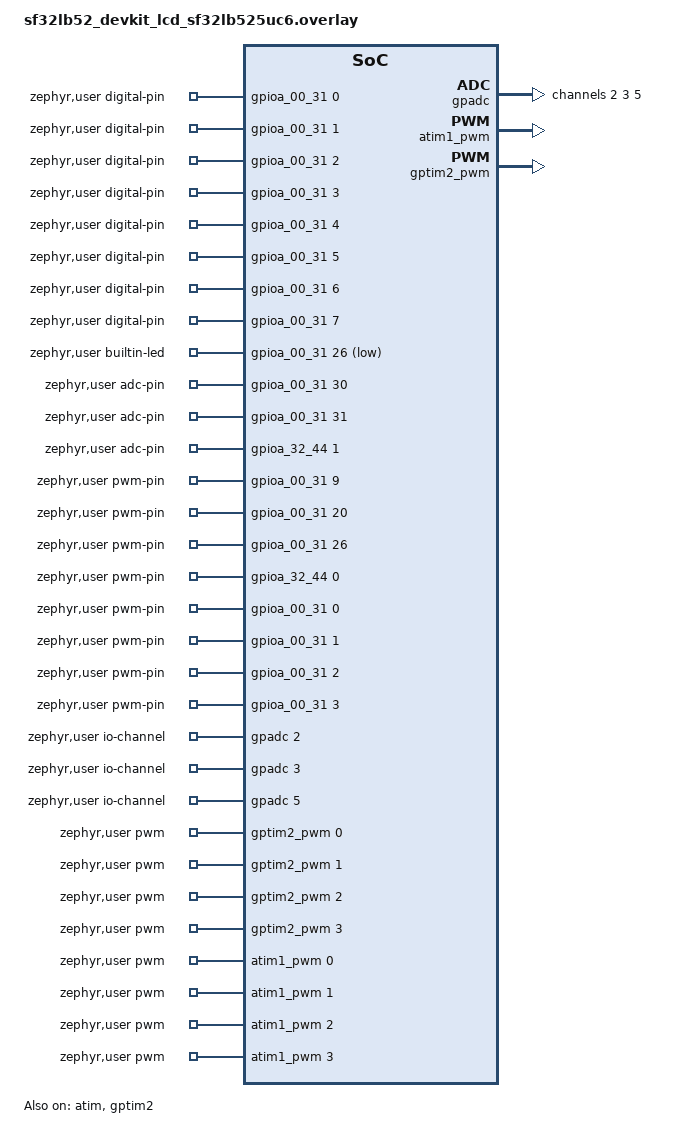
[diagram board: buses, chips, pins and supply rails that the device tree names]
/*
 * Copyright (c) Arduino s.r.l. and/or its affiliated companies
 *
 * SPDX-License-Identifier: Apache-2.0
 */

#include <zephyr/dt-bindings/pinctrl/sf32lb52x-pinctrl.h>
#include <zephyr/dt-bindings/pwm/pwm.h>
#include <zephyr/dt-bindings/adc/adc.h>

/*
 * Flash layout (py25q128ha, 16MB total):
 *   0x000000 - 0x00FFFF : ptable  (64KB,  from board DTS, unchanged)
 *   0x010000 - 0x10FFFF : code    (1MB,   loader binary — shrunk from original 16320KB)
 *   0x110000 - 0xFFFFFF : user_sketch (~14.9MB, where Arduino sketches are stored)
 *
 * The original board DTS sets code=16320KB which fills all remaining flash.
 * We shrink it to 1MB and allocate the rest to user_sketch.
 */

/* Shrink the loader code partition to 1MB */
&code {
	reg = <0x10000 DT_SIZE_K(1024)>;
};

/* Add the user_sketch partition in the remaining flash space */
&py25q128ha {
	/*
	 * Mark the flash node as soc-nv-flash so DT_MTD_FROM_FIXED_PARTITION()
	 * resolves partitions to the parent controller device (&mpi2) instead of
	 * to the flash child node itself.
	 */
	compatible = "puya,py25q128ha", "jedec,qspi-nor", "soc-nv-flash";
	reg = <0x12000000 DT_SIZE_M(16)>;

	partitions {
		user_sketch: partition@110000 {
			label = "user_sketch";
			/* 0x1000000 - 0x110000 = 0xEF0000 (~14.9MB) */
			reg = <0x110000 0xEF0000>;
		};
	};
};

/ {
	zephyr,user {
		/*
		 * Arduino digital pin index -> SoC pin:
		 *   D0       -> PA00  (PWM4 / LCDC)
		 *   D1       -> PA01  (PWM5 / LCDC)
		 *   D2       -> PA02  (PWM6 / LCDC)
		 *   D3       -> PA03  (PWM7 / LCDC)
		 *   D4       -> PA04  (I2C2_SDA / LCDC)
		 *   D5       -> PA05  (I2C2_SCL / LCDC)
		 *   D6       -> PA06  (I2C3_SDA / LCDC)
		 *   D7       -> PA07  (I2C3_SCL / LCDC)
		 *   D8       -> PA08  (LCDC)
		 *   D9       -> PA09  (PWM0)
		 *   D10      -> PA20  (PWM1)
		 *   D11      -> PA22  (LXT32 XI — not recommended)
		 *   D12      -> PA23  (LXT32 XO — not recommended)
		 *   D13 LED  -> PA26  (PWM2 / builtin LED)
		 *   D14 MOSI -> PA24  (SPI1 DIO)
		 *   D15 MISO -> PA25  (SPI1 DI)
		 *   D16      -> PA27  (I2C1_SDA)
		 *   D17 SCK  -> PA28  (SPI1 CLK)
		 *   D18 CS   -> PA29  (SPI1 CS)
		 *   D19      -> PA38  (I2C1_SCL / SPI2_MISO)
		 *   D20      -> PA34  (KEY1 — not on header)
		 *   D21      -> PA11  (KEY2 — not on header)
		 *   D22      -> PA32  (PWM3 / RGB LED — not on header)
		 *   D23      -> PA37  (LCDC / SPI2_MOSI)
		 *   D24      -> PA39  (LCDC / SPI2_CLK)
		 *   D25      -> PA40  (LCDC / SPI2_CS)
		 *   D26      -> PA41  (LCDC)
		 *   D27      -> PA42  (LCDC)
		 *   D28      -> PA43  (LCDC)
		 */
		digital-pin-gpios =
			<&gpioa_00_31 0 GPIO_ACTIVE_HIGH>,   /* D0  PA00 */
			<&gpioa_00_31 1 GPIO_ACTIVE_HIGH>,   /* D1  PA01 */
			<&gpioa_00_31 2 GPIO_ACTIVE_HIGH>,   /* D2  PA02 */
			<&gpioa_00_31 3 GPIO_ACTIVE_HIGH>,   /* D3  PA03 */
			<&gpioa_00_31 4 GPIO_ACTIVE_HIGH>,   /* D4  PA04 */
			<&gpioa_00_31 5 GPIO_ACTIVE_HIGH>,   /* D5  PA05 */
			<&gpioa_00_31 6 GPIO_ACTIVE_HIGH>,   /* D6  PA06 */
			<&gpioa_00_31 7 GPIO_ACTIVE_HIGH>,   /* D7  PA07 */
			<&gpioa_00_31 8 GPIO_ACTIVE_HIGH>,   /* D8  PA08 */
			<&gpioa_00_31 9 GPIO_ACTIVE_HIGH>,   /* D9  PA09 */
			<&gpioa_00_31 20 GPIO_ACTIVE_HIGH>,  /* D10 PA20 */
			<&gpioa_00_31 22 GPIO_ACTIVE_HIGH>,  /* D11 PA22 */
			<&gpioa_00_31 23 GPIO_ACTIVE_HIGH>,  /* D12 PA23 */
			<&gpioa_00_31 26 GPIO_ACTIVE_LOW>,   /* D13 PA26, builtin LED */
			<&gpioa_00_31 24 GPIO_ACTIVE_HIGH>,  /* D14 PA24, SPI MOSI */
			<&gpioa_00_31 25 GPIO_ACTIVE_HIGH>,  /* D15 PA25, SPI MISO */
			<&gpioa_00_31 27 GPIO_ACTIVE_HIGH>,  /* D16 PA27, I2C1_SDA */
			<&gpioa_00_31 28 GPIO_ACTIVE_HIGH>,  /* D17 PA28, SPI CLK */
			<&gpioa_00_31 29 GPIO_ACTIVE_HIGH>,  /* D18 PA29, SPI CS */
			<&gpioa_32_44 6 GPIO_ACTIVE_HIGH>,   /* D19 PA38, I2C1_SCL */
			<&gpioa_32_44 2 GPIO_ACTIVE_HIGH>,   /* D20 PA34, KEY1 */
			<&gpioa_00_31 11 GPIO_ACTIVE_HIGH>,  /* D21 PA11, KEY2 */
			<&gpioa_32_44 0 GPIO_ACTIVE_HIGH>,   /* D22 PA32, RGB LED */
			<&gpioa_32_44 5 GPIO_ACTIVE_HIGH>,   /* D23 PA37 */
			<&gpioa_32_44 7 GPIO_ACTIVE_HIGH>,   /* D24 PA39 */
			<&gpioa_32_44 8 GPIO_ACTIVE_HIGH>,   /* D25 PA40 */
			<&gpioa_32_44 9 GPIO_ACTIVE_HIGH>,   /* D26 PA41 */
			<&gpioa_32_44 10 GPIO_ACTIVE_HIGH>,  /* D27 PA42 */
			<&gpioa_32_44 11 GPIO_ACTIVE_HIGH>;  /* D28 PA43 */

		builtin-led-gpios = <&gpioa_00_31 26 GPIO_ACTIVE_LOW>;
		serials = <&usart1>;
		i2cs = <&i2c1>;
		spis = <&spi1>;

		/*
		 * ADC channels (Arduino A0..A2 -> GPADC CH2/CH3/CH5).
		 * adc-pin-gpios must reference the same GPIO phandle/pin as in
		 * digital-pin-gpios so the analog pin number is resolved.
		 */
		io-channels =
			<&gpadc 2>, <&gpadc 3>, <&gpadc 5>;
		adc-pin-gpios =
			<&gpioa_00_31 30 GPIO_ACTIVE_HIGH>, /* PA30 -> CH2 -> A0 */
			<&gpioa_00_31 31 GPIO_ACTIVE_HIGH>, /* PA31 -> CH3 -> A1 */
			<&gpioa_32_44 1 GPIO_ACTIVE_HIGH>;  /* PA33 -> CH5 -> A2 */

		/*
		 * PWM mapping (hardcoded pinctrl at build time).
		 *   PWM0 D9  PA09 -> GPTIM2 CH1
		 *   PWM1 D10 PA20 -> GPTIM2 CH2
		 *   PWM2 D13 PA26 -> GPTIM2 CH3
		 *   PWM3 D22 PA32 -> GPTIM2 CH4
		 *   PWM4 D0  PA00 -> ATIM1 CH1
		 *   PWM5 D1  PA01 -> ATIM1 CH2
		 *   PWM6 D2  PA02 -> ATIM1 CH3
		 *   PWM7 D3  PA03 -> ATIM1 CH4
		 */
		pwms =
			<&gptim2_pwm 0 PWM_USEC(255) PWM_POLARITY_NORMAL>, /* PWM0 */
			<&gptim2_pwm 1 PWM_USEC(255) PWM_POLARITY_NORMAL>, /* PWM1 */
			<&gptim2_pwm 2 PWM_USEC(255) PWM_POLARITY_NORMAL>, /* PWM2 */
			<&gptim2_pwm 3 PWM_USEC(255) PWM_POLARITY_NORMAL>, /* PWM3 */
			<&atim1_pwm 0 PWM_USEC(255) PWM_POLARITY_NORMAL>,  /* PWM4 */
			<&atim1_pwm 1 PWM_USEC(255) PWM_POLARITY_NORMAL>,  /* PWM5 */
			<&atim1_pwm 2 PWM_USEC(255) PWM_POLARITY_NORMAL>,  /* PWM6 */
			<&atim1_pwm 3 PWM_USEC(255) PWM_POLARITY_NORMAL>;  /* PWM7 */
		pwm-pin-gpios =
			<&gpioa_00_31 9 GPIO_ACTIVE_HIGH>,   /* PWM0 - D9  PA09 */
			<&gpioa_00_31 20 GPIO_ACTIVE_HIGH>,  /* PWM1 - D10 PA20 */
			<&gpioa_00_31 26 GPIO_ACTIVE_HIGH>,  /* PWM2 - D13 PA26 */
			<&gpioa_32_44 0 GPIO_ACTIVE_HIGH>,   /* PWM3 - D22 PA32 */
			<&gpioa_00_31 0 GPIO_ACTIVE_HIGH>,   /* PWM4 - D0  PA00 */
			<&gpioa_00_31 1 GPIO_ACTIVE_HIGH>,   /* PWM5 - D1  PA01 */
			<&gpioa_00_31 2 GPIO_ACTIVE_HIGH>,   /* PWM6 - D2  PA02 */
			<&gpioa_00_31 3 GPIO_ACTIVE_HIGH>;   /* PWM7 - D3  PA03 */
	};
};

&pinctrl {
	/* Override I2C1 pinctrl for Arduino: SDA=PA27, SCL=PA38 */
	i2c1_default: i2c1_default {
		group1 {
			pinmux = <PA27_I2C1_SDA>, <PA38_I2C1_SCL>;
			input-enable;
		};
	};

	gpadc_default: gpadc_default {
		group1 {
			pinmux = <PA30_GPADC_CH2>, <PA31_GPADC_CH3>,
				 <PA33_GPADC_CH5>;
		};
	};

	atim1_pwm_default: atim1_pwm_default {
		group1 {
			pinmux = <PA00_ATIM1_CH1>, <PA01_ATIM1_CH2>,
				 <PA02_ATIM1_CH3>, <PA03_ATIM1_CH4>;
		};
	};

	gptim2_pwm_default: gptim2_pwm_default {
		group1 {
			pinmux = <PA09_GPTIM2_CH1>, <PA20_GPTIM2_CH2>,
				 <PA26_GPTIM2_CH3>, <PA32_GPTIM2_CH4>;
		};
	};
};

&gpadc {
	pinctrl-0 = <&gpadc_default>;
	pinctrl-names = "default";
	status = "okay";
	nvmem-cells = <&sf32lb52_calib_bank1>;
	nvmem-cell-names = "calibration";

	#address-cells = <1>;
	#size-cells = <0>;

	/*
	 * One channel subnode per io-channels entry. ADC_DT_SPEC_GET_BY_IDX
	 * requires zephyr,gain / zephyr,reference / zephyr,acquisition-time /
	 * zephyr,resolution; the sf32lb GPADC driver only accepts
	 * ADC_GAIN_1, ADC_REF_INTERNAL, ADC_ACQ_TIME_DEFAULT, resolution=12.
	 */
	channel@2 {
		reg = <2>;
		zephyr,gain = "ADC_GAIN_1";
		zephyr,reference = "ADC_REF_INTERNAL";
		zephyr,acquisition-time = <ADC_ACQ_TIME_DEFAULT>;
		zephyr,resolution = <12>;
	};
	channel@3 {
		reg = <3>;
		zephyr,gain = "ADC_GAIN_1";
		zephyr,reference = "ADC_REF_INTERNAL";
		zephyr,acquisition-time = <ADC_ACQ_TIME_DEFAULT>;
		zephyr,resolution = <12>;
	};
	channel@5 {
		reg = <5>;
		zephyr,gain = "ADC_GAIN_1";
		zephyr,reference = "ADC_REF_INTERNAL";
		zephyr,acquisition-time = <ADC_ACQ_TIME_DEFAULT>;
		zephyr,resolution = <12>;
	};
};

&atim {
	sifli,prescaler = <47>;
	status = "okay";

	atim1_pwm: pwm {
		pinctrl-0 = <&atim1_pwm_default>;
		pinctrl-names = "default";
		status = "okay";
	};
};

&gptim2 {
	sifli,prescaler = <47>;
	status = "okay";

	gptim2_pwm: pwm {
		pinctrl-0 = <&gptim2_pwm_default>;
		pinctrl-names = "default";
		status = "okay";
	};
};
